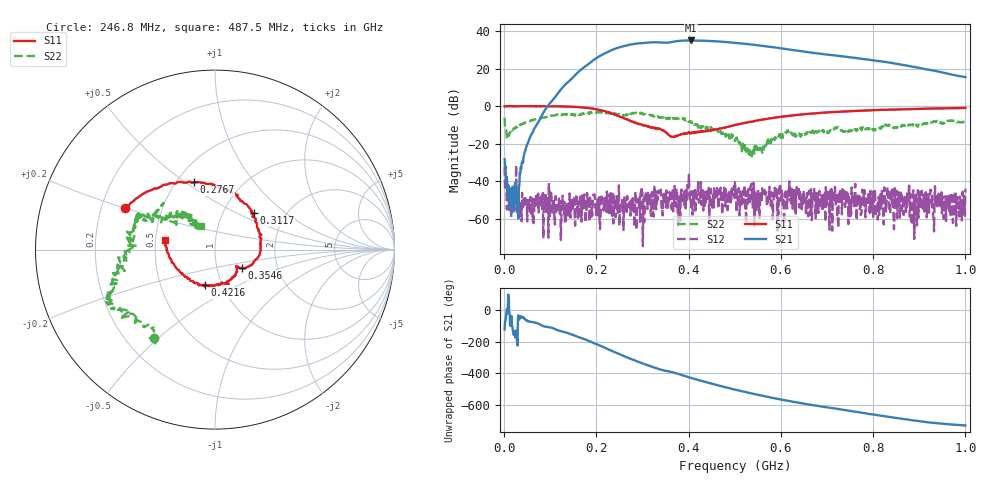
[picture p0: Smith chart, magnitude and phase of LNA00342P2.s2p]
! Created with skrf 1.9.0 (http://scikit-rf.org).
# Hz S RI R 50.0
!freq ReS11 ImS11 ReS21 ImS21 ReS12 ImS12 ReS22 ImS22
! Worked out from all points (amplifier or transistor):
!   1001 points, 1 MHz to 1 GHz, reference 50 ohm
!   highest |S21| = 35.0 dB at 404.6 MHz (marker M1)
!   |S21| within 3 dB of that: 259.9 MHz to 565.1 MHz (305.2 MHz wide, 74 % of centre)
!   unconditionally stable (mu >= 1): 248.9 MHz to 325.6 MHz; 325.7 MHz to 400.1 MHz; 401 MHz to end of sweep (the widest 3 of 23)
!   at 166.8 MHz: K = 1.58, MAG = 29.8 dB, |S12| = -49.0 dB
!   at 500.5 MHz: K = 1.10, MAG = 34.8 dB, |S12| = -39.7 dB
!   at 1 GHz: K = 2.06, MAG = 23.8 dB, |S12| = -43.8 dB
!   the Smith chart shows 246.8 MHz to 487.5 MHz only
!   S11 on the Smith chart (normalised r, x): 246.8 MHz: 0.30, +0.20; 276.7 MHz: 0.61, +0.54; 311.7 MHz: 1.39, +0.62; 354.6 MHz: 1.32, -0.28; 421.6 MHz: 0.83, -0.34; 487.5 MHz: 0.56, +0.07
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1000000  0.9872 -0.000932  -0.0207 -0.0334  -0.0149 0.0189  0.3586 0.3367
1.08892e8  0.5124 -0.851  -0.7639 -1.475  -0.000883 -0.000873  0.4393 -0.3732
1.67833e8  -0.2562 -0.8956  -9.619 -0.6589  0.000777 0.000348  0.0522 -0.6295
2.11789e8  -0.7002 -0.3264  -15.19 17.41  -0.00261 0.0013  -0.193 -0.6574
2.46754e8  -0.5034 0.2311  2.445 35.76  -0.000711 -0.00128  -0.3384 -0.4937
2.76724e8  -0.1181 0.3757  28.41 33.51  -0.00285 -0.000263  -0.5278 -0.3361
3.11689e8  0.2146 0.2024  48.01 9.768  -0.00101 0.00489  -0.5706 -0.1786
3.34666e8  0.2557 -0.000735  48.84 -9.823  -0.00377 0.00425  -0.5001 -0.05
3.54646e8  0.1504 -0.1021  43.93 -21.41  -0.000622 0.00176  -0.4699 0.0608
3.76624e8  0.1218 -0.1102  40.01 -36.14  0.000828 -0.000292  -0.4333 0.1686
4.04596e8  0.0405 -0.1847  21.25 -51.73  -0.00441 0.000556  -0.3508 0.1848
4.21579e8  -0.056 -0.1967  7.663 -54.63  0.00321 0.000674  -0.2561 0.1869
4.51549e8  -0.1963 -0.1238  -14.6 -51.56  0.000999 0.00176  -0.1536 0.1895
4.87513e8  -0.2804 0.0562  -33.66 -36.88  0.00375 0.000114  -0.0799 0.1334
5.005e8  -0.2909 0.1346  -38.27 -29.87  0.00732 0.00727  -0.0703 0.0941
5.38462e8  -0.2072 0.3321  -42.3 -9.345  0.00381 -0.00282  -0.042 0.0158
5.85415e8  -0.00135 0.494  -35.2 10.62  0.00328 -0.00262  -0.1311 -0.0515
6.25375e8  0.1933 0.5367  -24.36 19.39  0.000549 -0.00183  -0.1617 -0.0899
6.67333e8  0.397 0.4972  -13.41 22.64  -0.000109 -0.000992  -0.2177 -0.0195
7.55245e8  0.6861 0.281  3.083 19.27  -0.0023 -0.00258  -0.2417 0.0407
8.34166e8  0.8045 0.0198  10.17 10.33  -0.00322 -0.00407  -0.3102 -0.011
1e9  0.7337 -0.5234  5.878 -0.9119  0.00531 0.00361  -0.3039 0.2377
